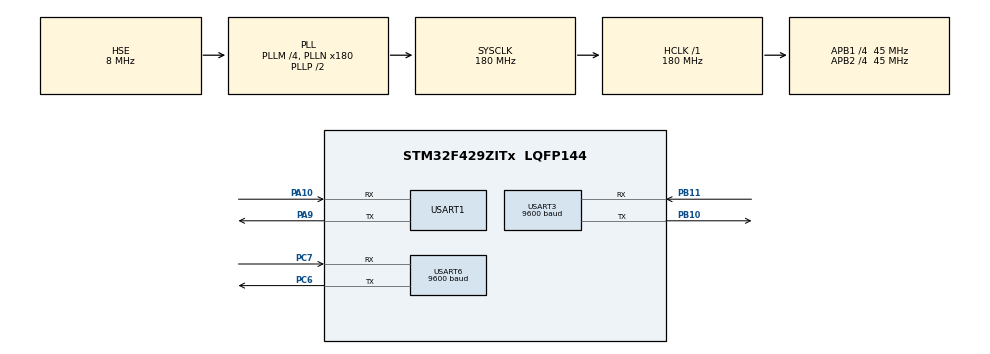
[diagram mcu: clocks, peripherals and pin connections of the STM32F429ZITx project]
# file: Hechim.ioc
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Dma.Request0=USART1_RX
Dma.Request1=USART3_RX
Dma.Request2=USART6_RX
Dma.USART1_RX.0.Direction=DMA_PERIPH_TO_MEMORY
Dma.USART1_RX.0.FIFOMode=DMA_FIFOMODE_DISABLE
Dma.USART1_RX.0.Instance=DMA2_Stream2
Dma.USART1_RX.0.MemDataAlignment=DMA_MDATAALIGN_BYTE
Dma.USART1_RX.0.MemInc=DMA_MINC_ENABLE
Dma.USART1_RX.0.Mode=DMA_NORMAL
Dma.USART1_RX.0.PeriphDataAlignment=DMA_PDATAALIGN_BYTE
Dma.USART1_RX.0.PeriphInc=DMA_PINC_DISABLE
Dma.USART1_RX.0.Priority=DMA_PRIORITY_LOW
Dma.USART3_RX.1.Direction=DMA_PERIPH_TO_MEMORY
Dma.USART3_RX.1.FIFOMode=DMA_FIFOMODE_DISABLE
Dma.USART3_RX.1.Instance=DMA1_Stream1
Dma.USART3_RX.1.MemDataAlignment=DMA_MDATAALIGN_BYTE
Dma.USART3_RX.1.MemInc=DMA_MINC_ENABLE
Dma.USART3_RX.1.Mode=DMA_NORMAL
Dma.USART3_RX.1.PeriphDataAlignment=DMA_PDATAALIGN_BYTE
Dma.USART3_RX.1.PeriphInc=DMA_PINC_DISABLE
Dma.USART3_RX.1.Priority=DMA_PRIORITY_LOW
Dma.USART6_RX.2.Direction=DMA_PERIPH_TO_MEMORY
Dma.USART6_RX.2.FIFOMode=DMA_FIFOMODE_DISABLE
Dma.USART6_RX.2.Instance=DMA2_Stream1
Dma.USART6_RX.2.MemDataAlignment=DMA_MDATAALIGN_BYTE
Dma.USART6_RX.2.MemInc=DMA_MINC_ENABLE
Dma.USART6_RX.2.Mode=DMA_NORMAL
Dma.USART6_RX.2.PeriphDataAlignment=DMA_PDATAALIGN_BYTE
Dma.USART6_RX.2.PeriphInc=DMA_PINC_DISABLE
Dma.USART6_RX.2.Priority=DMA_PRIORITY_LOW
Mcu.Family=STM32F4
Mcu.Name=STM32F429ZITx
Mcu.Package=LQFP144
NVIC.DMA1_Stream1_IRQn=true\:0\:0\:false\:false\:true\:false\:true\:true
NVIC.DMA2_Stream1_IRQn=true\:0\:0\:false\:false\:true\:false\:true\:true
NVIC.DMA2_Stream2_IRQn=true\:0\:0\:false\:false\:true\:false\:true\:true
NVIC.PriorityGroup=NVIC_PRIORITYGROUP_4
NVIC.USART1_IRQn=true\:0\:0\:false\:false\:true\:true\:true\:true
NVIC.USART3_IRQn=true\:0\:0\:false\:false\:true\:true\:true\:true
NVIC.USART6_IRQn=true\:0\:0\:false\:false\:true\:true\:true\:true
PA10.Mode=Asynchronous
PA10.Signal=USART1_RX
PA9.Mode=Asynchronous
PA9.Signal=USART1_TX
PB10.Mode=Asynchronous
PB10.Signal=USART3_TX
PB11.Mode=Asynchronous
PB11.Signal=USART3_RX
PC6.Mode=Asynchronous
PC6.Signal=USART6_TX
PC7.Mode=Asynchronous
PC7.Signal=USART6_RX
PH0/OSC_IN.Mode=HSE-External-Oscillator
PH0/OSC_IN.Signal=RCC_OSC_IN
PH1/OSC_OUT.Mode=HSE-External-Oscillator
PH1/OSC_OUT.Signal=RCC_OSC_OUT
ProjectManager.HeapSize=0x200
ProjectManager.StackSize=0x400
ProjectManager.TargetToolchain=STM32CubeIDE
RCC.48MHZClocksFreq_Value=90000000
RCC.AHBFreq_Value=180000000
RCC.APB1CLKDivider=RCC_HCLK_DIV4
RCC.APB1Freq_Value=45000000
RCC.APB1TimFreq_Value=90000000
RCC.APB2CLKDivider=RCC_HCLK_DIV4
RCC.APB2Freq_Value=45000000
RCC.APB2TimFreq_Value=90000000
RCC.CortexFreq_Value=180000000
RCC.HCLKFreq_Value=180000000
RCC.HSE_VALUE=8000000
RCC.HSI_VALUE=16000000
RCC.LSE_VALUE=32768
RCC.PLLM=4
RCC.PLLN=180
RCC.PLLSourceVirtual=RCC_PLLSOURCE_HSE
RCC.SYSCLKFreq_VALUE=180000000
RCC.SYSCLKSource=RCC_SYSCLKSOURCE_PLLCLK
RCC.VCOOutputFreq_Value=360000000
USART1.VirtualMode=VM_ASYNC
USART3.BaudRate=9600
USART3.VirtualMode=VM_ASYNC
USART6.BaudRate=9600
USART6.VirtualMode=VM_ASYNC
board=custom

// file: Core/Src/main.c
/* USER CODE BEGIN Header */
/**
  ******************************************************************************
  * @file           : main.c
  * @brief          : Main program body
  ******************************************************************************
  * @attention
  *
  * Copyright (c) 2025 STMicroelectronics.
  * All rights reserved.
  *
  * This software is licensed under terms that can be found in the LICENSE file
  * in the root directory of this software component.
  * If no LICENSE file comes with this software, it is provided AS-IS.
  *
  ******************************************************************************
  */
  /* USER CODE END Header */
  /* Includes ------------------------------------------------------------------*/
#include "main.h"

/* USER CODE BEGIN Includes */
#include "stdio.h"
#include "stdbool.h"
#include "string.h"

#include "stm32f4xx_hal.h"
#include "stm32f4xx_hal_uart.h"
/* USER CODE END Includes */

/* USER CODE BEGIN PTD */
typedef struct {
  /*
   * 1: SET BAUDRATE FOR A AND B
   * -1: Unknown
  */
  int type;
  int baudrate;
} command;

typedef struct {
  uint32_t baud_A;
  uint32_t baud_B;
  uint32_t magic_number; // Preset number for calculate checksum
  uint32_t checksum;
} UART_BaudRates_Config;
/* USER CODE END PTD */

/* USER CODE BEGIN PD */
#define RX_BUFFER_SIZE 64

#define CONFIG_FLASH_SECTOR        FLASH_SECTOR_23
#define CONFIG_FLASH_BASE_ADDRESS  0x081E0000
#define CONFIG_MAGIC_NUMBER        0xCAFEFECA
/* USER CODE END PD */

UART_HandleTypeDef huart1;
UART_HandleTypeDef huart3;
UART_HandleTypeDef huart6;
DMA_HandleTypeDef hdma_usart1_rx;
DMA_HandleTypeDef hdma_usart3_rx;
DMA_HandleTypeDef hdma_usart6_rx;

/* USER CODE BEGIN PV */
uint8_t rx_buffer_it1[RX_BUFFER_SIZE];
uint8_t rx_buffer_it3[RX_BUFFER_SIZE];
uint8_t rx_buffer_it6[RX_BUFFER_SIZE];

uint16_t buffer_size_it = 1;

uint16_t received_data_len;

char instructions[] = "----------\nValid commands:\n1. Set baud rate: BAUD <baud_rate> (valid baud rate: 600, 1200, 2400, 4800, 9600, 14400, 19200, 38400, 56000, 57600, 115200)\n----------\n";
int VALID_RATE[11] = { 600, 1200, 2400, 4800, 9600, 14400, 19200, 38400, 56000, 57600, 115200 };
/* USER CODE END PV */

void SystemClock_Config(void);
static void MX_GPIO_Init(void);
static void MX_DMA_Init(void);
static void MX_USART1_UART_Init(void);
static void MX_USART3_UART_Init(void);
static void MX_USART6_UART_Init(void);

/* USER CODE BEGIN 0 */

/*
 * Get the number from a string
 * 	  valid string: return the converted number
 * 	  invalid string: return -1
 * */
int extractNumber(char* str) {
  int res = 0;

  for (int i = 0; i < strlen(str); i++) {
    if (str[i] > '9' || str[i] < '0') return -1;
    res = res * 10 + str[i] - '0';
  }

  return res;
}

/*
 * Check the number in an array or not.
 * */
bool includes(int* arr, int mem, int len) {
  for (int i = 0; i < len; i++) {
    if (arr[i] == mem) return true;
  }
  return false;
}

/*
 * Extract the command name from a string and parameters, return an [command]
 * 		Valid command: BAUD <baud_rate>
 * */
command extractCommand(char* cmd) {
  command res;
  res.type = -1;

  int sz = strlen(cmd);
  for (int i = 0; i < sz; i++) {
    if (cmd[i] == ' ') {
      cmd[i] = '\0'; // Put a latch

      if (!strcmp(cmd, "BAUD")) {
        int baudrate = extractNumber(cmd + i + 1);
        if (includes(VALID_RATE, baudrate, 11)) {
          res.baudrate = baudrate;
          res.type = 1;
        }
      }
      else {
        break;
      }

      cmd[i] = ' ';
    }
  }

  return res;
}

/*
 * Calculate the checksum base on data from Flash memory.
 * */
uint32_t Calculate_Checksum(UART_BaudRates_Config* config) {
  return config->baud_A ^ config->baud_B ^ config->magic_number;
}

/*
 * Save the configuration (baud rate) to the flash memorys
 * */
void Save_Config_To_Flash(UART_BaudRates_Config* config_to_save) {
  HAL_StatusTypeDef status;
  FLASH_EraseInitTypeDef EraseInitStruct;
  uint32_t SectorError = 0;
  uint32_t address = CONFIG_FLASH_BASE_ADDRESS;

  // 1. Mở khóa Flash
  HAL_FLASH_Unlock();

  // 2. Xóa Sector
  EraseInitStruct.TypeErase = FLASH_TYPEERASE_SECTORS;
  EraseInitStruct.VoltageRange = FLASH_VOLTAGE_RANGE_3; // Cho VCC từ 2.7V đến 3.6V
  EraseInitStruct.Sector = CONFIG_FLASH_SECTOR;
  EraseInitStruct.NbSectors = 1;

  status = HAL_FLASHEx_Erase(&EraseInitStruct, &SectorError);

  // 2.1. Xoá không thành công | địa chỉ bộ nhớ không khớp với quy ước [CONFIG_FLASH_SECTOR] thì báo lỗi và khoá Flash
  if (status != HAL_OK || SectorError != 0xFFFFFFFFU) {
    char err_msg[50];
    sprintf(err_msg, "Flash Erase Error: 0x%lX, SE: 0x%lX\r\n", (unsigned long)status, (unsigned long)SectorError);
    HAL_UART_Transmit(&huart1, (uint8_t*)err_msg, strlen(err_msg), HAL_MAX_DELAY);

    HAL_FLASH_Lock();
    return;
  }

  // 3. Ghi dữ liệu (ghi từng word 32-bit)
  config_to_save->checksum = Calculate_Checksum(config_to_save);

  // 3.1. Thứ tự lưu giá trị: <baudA><baudB><magicNumber><Checksum>
  if (HAL_FLASH_Program(FLASH_TYPEPROGRAM_WORD, address, config_to_save->baud_A) != HAL_OK) goto flash_program_error;
  address += 4;
  if (HAL_FLASH_Program(FLASH_TYPEPROGRAM_WORD, address, config_to_save->baud_B) != HAL_OK) goto flash_program_error;
  address += 4;
  if (HAL_FLASH_Program(FLASH_TYPEPROGRAM_WORD, address, config_to_save->magic_number) != HAL_OK) goto flash_program_error;
  address += 4;
  if (HAL_FLASH_Program(FLASH_TYPEPROGRAM_WORD, address, config_to_save->checksum) != HAL_OK) goto flash_program_error;

  // 4. Khóa Flash
  HAL_FLASH_Lock();

  char ok_msg[] = "Config saved to Flash successfully.\r\n";
  HAL_UART_Transmit(&huart1, (uint8_t*)ok_msg, strlen(ok_msg), HAL_MAX_DELAY);
  return;

  // 3.2. Nếu có lỗi trong việc ghi thì báo lỗi lên UART_H
flash_program_error:
  HAL_UART_Transmit(&huart1, (uint8_t*)"Flash Program Error!\r\n", strlen("Flash Program Error!\r\n"), HAL_MAX_DELAY);
  HAL_FLASH_Lock();
}

void Load_Config_From_Flash(void) {
  UART_BaudRates_Config loaded_config;
  uint32_t address = CONFIG_FLASH_BASE_ADDRESS;
  char msg[100];

  // Thứ tự lưu giá trị: <baudA><baudB><magicNumber><Checksum>
  loaded_config.baud_A = *(volatile uint32_t*)address;
  loaded_config.baud_B = *(volatile uint32_t*)(address + 4);
  loaded_config.magic_number = *(volatile uint32_t*)(address + 8);
  loaded_config.checksum = *(volatile uint32_t*)(address + 12);

  bool status = true;
  // 1. Kiểm tra dữ liệu được load từ flash là dữ liệu hợp lệ
  if (loaded_config.magic_number == CONFIG_MAGIC_NUMBER &&
    loaded_config.checksum == Calculate_Checksum(&loaded_config)) {

    sprintf(msg, "Valid config found in Flash. A=%lu, B=%lu. Applying...\r\n", (unsigned long)loaded_config.baud_A, (unsigned long)loaded_config.baud_B);
    HAL_UART_Transmit(&huart1, (uint8_t*)msg, strlen(msg), HAL_MAX_DELAY);

    // 1.1. Re-init UART_A & UART_B với baud rate load được từ flash
    if (status && huart3.Init.BaudRate != loaded_config.baud_A) {
      if (status && HAL_UART_DeInit(&huart3) != HAL_OK) status = false;
      huart3.Init.BaudRate = loaded_config.baud_A;
      if (status && HAL_UART_Init(&huart3) != HAL_OK) status = false;
    }

    if (status && huart6.Init.BaudRate != loaded_config.baud_B) {
      if (status && HAL_UART_DeInit(&huart6) != HAL_OK) status = false;
      huart6.Init.BaudRate = loaded_config.baud_B;
      if (status && HAL_UART_Init(&huart6) != HAL_OK) status = false;
    }
  }
  else {
    // 1.2 Dữ liệu không hợp lệ || Flash chưa được ghi lần nào
    sprintf(msg, "No valid config in Flash or data corrupted. Using default baud rates (A=%lu, B=%lu).\r\n", (unsigned long)huart3.Init.BaudRate, (unsigned long)huart6.Init.BaudRate);
    HAL_UART_Transmit(&huart1, (uint8_t*)msg, strlen(msg), HAL_MAX_DELAY);

    UART_BaudRates_Config default_config;
    default_config.baud_A = huart3.Init.BaudRate;
    default_config.baud_B = huart6.Init.BaudRate;
    default_config.magic_number = CONFIG_MAGIC_NUMBER;

    Save_Config_To_Flash(&default_config);
  }
}
/* USER CODE END 0 */

int main(void)
{

  /* MCU Configuration--------------------------------------------------------*/

  /* Reset of all peripherals, Initializes the Flash interface and the Systick. */
  HAL_Init();

  /* Configure the system clock */
  SystemClock_Config();

  /* Initialize all configured peripherals */
  MX_GPIO_Init();
  MX_DMA_Init();
  MX_USART1_UART_Init();
  MX_USART3_UART_Init();
  MX_USART6_UART_Init();
  /* USER CODE BEGIN 2 */
  Load_Config_From_Flash();

  // Start DMA lắng nghe các sự kiện nhận dữ liệu
  if (HAL_UARTEx_ReceiveToIdle_DMA(&huart1, rx_buffer_it1, RX_BUFFER_SIZE) != HAL_OK)
  {
    Error_Handler();
  }
  if (HAL_UARTEx_ReceiveToIdle_DMA(&huart3, rx_buffer_it3, RX_BUFFER_SIZE) != HAL_OK)
  {
    Error_Handler();
  }
  if (HAL_UARTEx_ReceiveToIdle_DMA(&huart6, rx_buffer_it6, RX_BUFFER_SIZE) != HAL_OK)
  {
    Error_Handler();
  }
  /* USER CODE END 2 */

  /* Infinite loop */
  /* USER CODE BEGIN WHILE */
  while (1)
  {
    //	  HAL_UART_Transmit(&huart3, (const uint8_t*)buf, strlen(buf), 2);
    /* USER CODE END WHILE */

  }
}

void SystemClock_Config(void)
{
  RCC_OscInitTypeDef RCC_OscInitStruct = { 0 };
  RCC_ClkInitTypeDef RCC_ClkInitStruct = { 0 };

  /** Configure the main internal regulator output voltage
  */
  __HAL_RCC_PWR_CLK_ENABLE();
  __HAL_PWR_VOLTAGESCALING_CONFIG(PWR_REGULATOR_VOLTAGE_SCALE1);

  /** Initializes the RCC Oscillators according to the specified parameters
  * in the RCC_OscInitTypeDef structure.
  */
  RCC_OscInitStruct.OscillatorType = RCC_OSCILLATORTYPE_HSE;
  RCC_OscInitStruct.HSEState = RCC_HSE_ON;
  RCC_OscInitStruct.PLL.PLLState = RCC_PLL_ON;
  RCC_OscInitStruct.PLL.PLLSource = RCC_PLLSOURCE_HSE;
  RCC_OscInitStruct.PLL.PLLM = 4;
  RCC_OscInitStruct.PLL.PLLN = 180;
  RCC_OscInitStruct.PLL.PLLP = RCC_PLLP_DIV2;
  RCC_OscInitStruct.PLL.PLLQ = 4;
  if (HAL_RCC_OscConfig(&RCC_OscInitStruct) != HAL_OK)
  {
    Error_Handler();
  }

  /** Activate the Over-Drive mode
  */
  if (HAL_PWREx_EnableOverDrive() != HAL_OK)
  {
    Error_Handler();
  }

  /** Initializes the CPU, AHB and APB buses clocks
  */
  RCC_ClkInitStruct.ClockType = RCC_CLOCKTYPE_HCLK | RCC_CLOCKTYPE_SYSCLK
    | RCC_CLOCKTYPE_PCLK1 | RCC_CLOCKTYPE_PCLK2;
  RCC_ClkInitStruct.SYSCLKSource = RCC_SYSCLKSOURCE_PLLCLK;
  RCC_ClkInitStruct.AHBCLKDivider = RCC_SYSCLK_DIV1;
  RCC_ClkInitStruct.APB1CLKDivider = RCC_HCLK_DIV4;
  RCC_ClkInitStruct.APB2CLKDivider = RCC_HCLK_DIV4;

  if (HAL_RCC_ClockConfig(&RCC_ClkInitStruct, FLASH_LATENCY_5) != HAL_OK)
  {
    Error_Handler();
  }
}

static void MX_USART1_UART_Init(void)
{

  huart1.Instance = USART1;
  huart1.Init.BaudRate = 115200;
  huart1.Init.WordLength = UART_WORDLENGTH_8B;
  huart1.Init.StopBits = UART_STOPBITS_1;
  huart1.Init.Parity = UART_PARITY_NONE;
  huart1.Init.Mode = UART_MODE_TX_RX;
  huart1.Init.HwFlowCtl = UART_HWCONTROL_NONE;
  huart1.Init.OverSampling = UART_OVERSAMPLING_16;
  if (HAL_UART_Init(&huart1) != HAL_OK)
  {
    Error_Handler();
  }

}

static void MX_USART3_UART_Init(void)
{

  huart3.Instance = USART3;
  huart3.Init.BaudRate = 115200;
  huart3.Init.WordLength = UART_WORDLENGTH_8B;
  huart3.Init.StopBits = UART_STOPBITS_1;
  huart3.Init.Parity = UART_PARITY_NONE;
  huart3.Init.Mode = UART_MODE_TX_RX;
  huart3.Init.HwFlowCtl = UART_HWCONTROL_NONE;
  huart3.Init.OverSampling = UART_OVERSAMPLING_16;
  if (HAL_UART_Init(&huart3) != HAL_OK)
  {
    Error_Handler();
  }

}

static void MX_USART6_UART_Init(void)
{

  huart6.Instance = USART6;
  huart6.Init.BaudRate = 115200;
  huart6.Init.WordLength = UART_WORDLENGTH_8B;
  huart6.Init.StopBits = UART_STOPBITS_1;
  huart6.Init.Parity = UART_PARITY_NONE;
  huart6.Init.Mode = UART_MODE_TX_RX;
  huart6.Init.HwFlowCtl = UART_HWCONTROL_NONE;
  huart6.Init.OverSampling = UART_OVERSAMPLING_16;
  if (HAL_UART_Init(&huart6) != HAL_OK)
  {
    Error_Handler();
  }

}

static void MX_DMA_Init(void)
{

  /* DMA controller clock enable */
  __HAL_RCC_DMA2_CLK_ENABLE();
  __HAL_RCC_DMA1_CLK_ENABLE();

  /* DMA interrupt init */
  /* DMA1_Stream1_IRQn interrupt configuration */
  HAL_NVIC_SetPriority(DMA1_Stream1_IRQn, 0, 0);
  HAL_NVIC_EnableIRQ(DMA1_Stream1_IRQn);
  /* DMA2_Stream1_IRQn interrupt configuration */
  HAL_NVIC_SetPriority(DMA2_Stream1_IRQn, 0, 0);
  HAL_NVIC_EnableIRQ(DMA2_Stream1_IRQn);
  /* DMA2_Stream2_IRQn interrupt configuration */
  HAL_NVIC_SetPriority(DMA2_Stream2_IRQn, 0, 0);
  HAL_NVIC_EnableIRQ(DMA2_Stream2_IRQn);

}

static void MX_GPIO_Init(void)
{

  /* GPIO Ports Clock Enable */
  __HAL_RCC_GPIOH_CLK_ENABLE();
  __HAL_RCC_GPIOB_CLK_ENABLE();
  __HAL_RCC_GPIOC_CLK_ENABLE();
  __HAL_RCC_GPIOA_CLK_ENABLE();

}

/* USER CODE BEGIN 4 */
void HAL_UARTEx_RxEventCallback(UART_HandleTypeDef* huart, uint16_t Size)
{
  // Ký tự xuống dòng (chỉ nhằm mục đích trình bày đẹp hơn
  char end_char[] = "\r\n";

  if (huart->Instance == USART1) {
    // 1. Nhận dữ liệu
    HAL_UART_Transmit(&huart1, (uint8_t*)end_char, strlen(end_char), HAL_MAX_DELAY);

    // 2. Ngắt chuỗi và giải mã command từ xâu người dùng nhập
    rx_buffer_it1[Size] = '\0';
    command cmd = extractCommand((char*)rx_buffer_it1);

    if (cmd.type == -1) {
      // 3.1. Nếu lỗi thì báo lên UART_H
      HAL_UART_Transmit(&huart1, (uint8_t*)instructions, strlen(instructions), HAL_MAX_DELAY);
    }
    else if (cmd.type == 1) {
      // 3.2. Xử lý set baud rate cho UART_A & UART_B
      bool status = true;

      char info[] = "CMD: Setting Baud rate for UART_A & UART_B at baud rate: ";
      HAL_UART_Transmit(&huart1, (uint8_t*)info, strlen(info), HAL_MAX_DELAY);

      sprintf(info, "%d\r\n", cmd.baudrate);
      HAL_UART_Transmit(&huart1, (uint8_t*)info, strlen(info), HAL_MAX_DELAY);

      // 4. Stop DMA
      if (status && HAL_UART_DMAStop(&huart3) != HAL_OK) {
        status = false;
      }
      if (status && HAL_UART_DMAStop(&huart6) != HAL_OK) {
        status = false;
      }

      // 5. De-init UART
      if (status && HAL_UART_DeInit(&huart3) != HAL_OK) {
        status = false;
      }
      if (status && HAL_UART_DeInit(&huart6) != HAL_OK) {
        status = false;
      }

      // 6. Re-init UART_A & UART_B
      if (status) (&huart3)->Init.BaudRate = cmd.baudrate;
      if (status) (&huart6)->Init.BaudRate = cmd.baudrate;

      // Re-init UART
      if (status && HAL_UART_Init(&huart3) != HAL_OK) {
        status = false;
      }
      if (status && HAL_UART_Init(&huart6) != HAL_OK) {
        status = false;
      }

      // 7. Restart DMA
      if (status && HAL_UARTEx_ReceiveToIdle_DMA(&huart3, rx_buffer_it3, RX_BUFFER_SIZE) != HAL_OK) {
        status = false;
      }
      if (status && HAL_UARTEx_ReceiveToIdle_DMA(&huart6, rx_buffer_it6, RX_BUFFER_SIZE) != HAL_OK) {
        status = false;
      }

      // Thông báo lên UART_H
      if (status) {
        sprintf(info, "Set baud rate at %d successfully!\r\n", cmd.baudrate);
        HAL_UART_Transmit(&huart1, (uint8_t*)info, strlen(info), HAL_MAX_DELAY);

        UART_BaudRates_Config new_config;
        new_config.baud_A = cmd.baudrate;
        new_config.baud_B = cmd.baudrate;
        new_config.magic_number = CONFIG_MAGIC_NUMBER;

        Save_Config_To_Flash(&new_config);
      }
      else {
        sprintf(info, "Error occur!\r\n");
        HAL_UART_Transmit(&huart1, (uint8_t*)info, strlen(info), HAL_MAX_DELAY);
      }
    }

    // IMPORTANT: Restart DMA để tiếp tục lắng nghe lệnh mới
    HAL_UARTEx_ReceiveToIdle_DMA(&huart1, rx_buffer_it1, RX_BUFFER_SIZE);
  }
  else if (huart->Instance == USART3) {
    received_data_len = Size;

    // 1. Ngắt dòng
    HAL_UART_Transmit(&huart3, (uint8_t*)end_char, strlen(end_char), HAL_MAX_DELAY);

    // 2. Gửi tin nhắn cho UART_B
    HAL_UART_Transmit(&huart6, rx_buffer_it3, received_data_len, HAL_MAX_DELAY);
    HAL_UART_Transmit(&huart6, (uint8_t*)end_char, strlen(end_char), HAL_MAX_DELAY);

    // 3. Gửi thông tin giám sát lên UART_H
    char info[] = "A -> B: ";
    HAL_UART_Transmit(&huart1, (uint8_t*)info, strlen(info), HAL_MAX_DELAY);

    HAL_UART_Transmit(&huart1, rx_buffer_it3, received_data_len, HAL_MAX_DELAY);
    HAL_UART_Transmit(&huart1, (uint8_t*)end_char, strlen(end_char), HAL_MAX_DELAY);

    HAL_UARTEx_ReceiveToIdle_DMA(&huart3, rx_buffer_it3, RX_BUFFER_SIZE);
  }
  else if (huart->Instance == USART6)
  {
    received_data_len = Size;

    // 1. Ngắt dòng
    HAL_UART_Transmit(&huart6, (uint8_t*)end_char, strlen(end_char), HAL_MAX_DELAY);

    // 2. Gửi tin nhắn cho UART_A
    HAL_UART_Transmit(&huart3, rx_buffer_it6, received_data_len, HAL_MAX_DELAY);
    HAL_UART_Transmit(&huart3, (uint8_t*)end_char, strlen(end_char), HAL_MAX_DELAY);

    // 3. Gửi thông tin giám sát lên UART_H
    char info[] = "B -> A: ";
    HAL_UART_Transmit(&huart1, (uint8_t*)info, strlen(info), HAL_MAX_DELAY);

    HAL_UART_Transmit(&huart1, rx_buffer_it6, received_data_len, HAL_MAX_DELAY);
    HAL_UART_Transmit(&huart1, (uint8_t*)end_char, strlen(end_char), HAL_MAX_DELAY);

    HAL_UARTEx_ReceiveToIdle_DMA(&huart6, rx_buffer_it6, RX_BUFFER_SIZE);
  }
}

void HAL_UART_ErrorCallback(UART_HandleTypeDef* huart)
{
  char error_log_msg[64];
  uint32_t error_code = HAL_UART_GetError(huart);

  if (huart->Instance == USART1)
  {
    sprintf(error_log_msg, "Error on UART_H, Code: 0x%lX. Restarting...\r\n", error_code);
    //    HAL_UART_Transmit(&huart1, (uint8_t*)error_log_msg, strlen(error_log_msg), 100);

    if (HAL_UARTEx_ReceiveToIdle_DMA(&huart1, rx_buffer_it1, RX_BUFFER_SIZE) != HAL_OK)
    {
      //      Error_Handler();
    }
  }
  else if (huart->Instance == USART3)
  {
    sprintf(error_log_msg, "Error on UART_A, Code: 0x%lX. Restarting...\r\n", error_code);
    //    HAL_UART_Transmit(&huart1, (uint8_t*)error_log_msg, strlen(error_log_msg), HAL_MAX_DELAY);

    if (HAL_UARTEx_ReceiveToIdle_DMA(&huart3, rx_buffer_it3, RX_BUFFER_SIZE) != HAL_OK)
    {
      //      Error_Handler();
    }
  }
  else if (huart->Instance == USART6)
  {
    sprintf(error_log_msg, "Error on UART_B, Code: 0x%lX. Restarting...\r\n", error_code);
    //    HAL_UART_Transmit(&huart1, (uint8_t*)error_log_msg, strlen(error_log_msg), HAL_MAX_DELAY);

    if (HAL_UARTEx_ReceiveToIdle_DMA(&huart6, rx_buffer_it6, RX_BUFFER_SIZE) != HAL_OK)
    {
      //      Error_Handler();
    }
  }
}
/* USER CODE END 4 */

void Error_Handler(void)
{
  __disable_irq();
  while (1)
  {
  }
}
